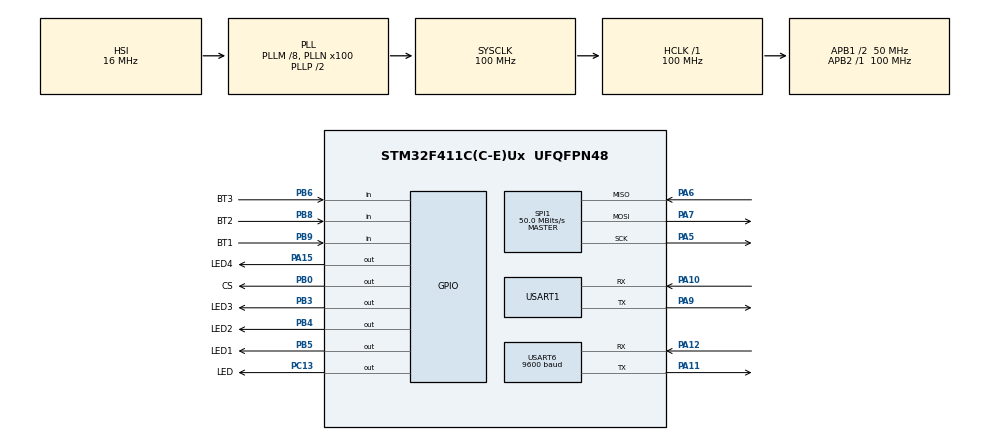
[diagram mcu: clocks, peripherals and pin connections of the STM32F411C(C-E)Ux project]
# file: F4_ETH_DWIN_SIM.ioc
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Dma.Request0=USART6_TX
Dma.Request1=USART1_TX
Dma.Request2=USART1_RX
Dma.USART1_RX.2.Direction=DMA_PERIPH_TO_MEMORY
Dma.USART1_RX.2.FIFOMode=DMA_FIFOMODE_DISABLE
Dma.USART1_RX.2.Instance=DMA2_Stream2
Dma.USART1_RX.2.MemDataAlignment=DMA_MDATAALIGN_BYTE
Dma.USART1_RX.2.MemInc=DMA_MINC_ENABLE
Dma.USART1_RX.2.Mode=DMA_NORMAL
Dma.USART1_RX.2.PeriphDataAlignment=DMA_PDATAALIGN_BYTE
Dma.USART1_RX.2.PeriphInc=DMA_PINC_DISABLE
Dma.USART1_RX.2.Priority=DMA_PRIORITY_LOW
Dma.USART1_TX.1.Direction=DMA_MEMORY_TO_PERIPH
Dma.USART1_TX.1.FIFOMode=DMA_FIFOMODE_DISABLE
Dma.USART1_TX.1.Instance=DMA2_Stream7
Dma.USART1_TX.1.MemDataAlignment=DMA_MDATAALIGN_BYTE
Dma.USART1_TX.1.MemInc=DMA_MINC_ENABLE
Dma.USART1_TX.1.Mode=DMA_NORMAL
Dma.USART1_TX.1.PeriphDataAlignment=DMA_PDATAALIGN_BYTE
Dma.USART1_TX.1.PeriphInc=DMA_PINC_DISABLE
Dma.USART1_TX.1.Priority=DMA_PRIORITY_LOW
Dma.USART6_TX.0.Direction=DMA_MEMORY_TO_PERIPH
Dma.USART6_TX.0.FIFOMode=DMA_FIFOMODE_DISABLE
Dma.USART6_TX.0.Instance=DMA2_Stream6
Dma.USART6_TX.0.MemDataAlignment=DMA_MDATAALIGN_BYTE
Dma.USART6_TX.0.MemInc=DMA_MINC_ENABLE
Dma.USART6_TX.0.Mode=DMA_NORMAL
Dma.USART6_TX.0.PeriphDataAlignment=DMA_PDATAALIGN_BYTE
Dma.USART6_TX.0.PeriphInc=DMA_PINC_DISABLE
Dma.USART6_TX.0.Priority=DMA_PRIORITY_LOW
Mcu.Family=STM32F4
Mcu.Name=STM32F411C(C-E)Ux
Mcu.Package=UFQFPN48
NVIC.DMA2_Stream2_IRQn=true\:0\:0\:false\:false\:true\:false\:true\:true
NVIC.DMA2_Stream6_IRQn=true\:0\:0\:false\:false\:true\:false\:true\:true
NVIC.DMA2_Stream7_IRQn=true\:0\:0\:false\:false\:true\:false\:true\:true
NVIC.PriorityGroup=NVIC_PRIORITYGROUP_4
NVIC.USART1_IRQn=true\:0\:0\:false\:false\:true\:true\:true\:true
NVIC.USART6_IRQn=true\:0\:0\:false\:false\:true\:true\:true\:true
PA10.Mode=Asynchronous
PA10.Signal=USART1_RX
PA11.Mode=Asynchronous
PA11.Signal=USART6_TX
PA12.Mode=Asynchronous
PA12.Signal=USART6_RX
PA15.GPIO_Label=LED4
PA15.Signal=GPIO_Output
PA5.Mode=Full_Duplex_Master
PA5.Signal=SPI1_SCK
PA6.Mode=Full_Duplex_Master
PA6.Signal=SPI1_MISO
PA7.Mode=Full_Duplex_Master
PA7.Signal=SPI1_MOSI
PA9.Mode=Asynchronous
PA9.Signal=USART1_TX
PB0.GPIO_Label=CS
PB0.Signal=GPIO_Output
PB3.GPIO_Label=LED3
PB3.Signal=GPIO_Output
PB4.GPIO_Label=LED2
PB4.Signal=GPIO_Output
PB5.GPIO_Label=LED1
PB5.Signal=GPIO_Output
PB6.GPIO_Label=BT3
PB6.Signal=GPIO_Input
PB8.GPIO_Label=BT2
PB8.Signal=GPIO_Input
PB9.GPIO_Label=BT1
PB9.Signal=GPIO_Input
PC13-ANTI_TAMP.GPIO_Label=LED
PC13-ANTI_TAMP.Signal=GPIO_Output
PH0\ -\ OSC_IN.Mode=HSE-External-Oscillator
PH0\ -\ OSC_IN.Signal=RCC_OSC_IN
PH1\ -\ OSC_OUT.Mode=HSE-External-Oscillator
PH1\ -\ OSC_OUT.Signal=RCC_OSC_OUT
ProjectManager.HeapSize=0x200
ProjectManager.StackSize=0x400
ProjectManager.TargetToolchain=MDK-ARM V5
RCC.48MHZClocksFreq_Value=50000000
RCC.AHBFreq_Value=100000000
RCC.APB1CLKDivider=RCC_HCLK_DIV2
RCC.APB1Freq_Value=50000000
RCC.APB1TimFreq_Value=100000000
RCC.APB2Freq_Value=100000000
RCC.APB2TimFreq_Value=100000000
RCC.CortexFreq_Value=100000000
RCC.HCLKFreq_Value=100000000
RCC.HSE_VALUE=25000000
RCC.HSI_VALUE=16000000
RCC.LSE_VALUE=32768
RCC.PLLM=8
RCC.PLLN=100
RCC.SYSCLKFreq_VALUE=100000000
RCC.SYSCLKSource=RCC_SYSCLKSOURCE_PLLCLK
RCC.VCOOutputFreq_Value=200000000
SPI1.BaudRatePrescaler=SPI_BAUDRATEPRESCALER_2
SPI1.CalculateBaudRate=50.0 MBits/s
SPI1.Direction=SPI_DIRECTION_2LINES
SPI1.Mode=SPI_MODE_MASTER
SPI1.VirtualType=VM_MASTER
USART1.VirtualMode=VM_ASYNC
USART6.BaudRate=9600
USART6.VirtualMode=VM_ASYNC
board=custom

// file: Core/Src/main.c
/* USER CODE BEGIN Header */
/**
  ******************************************************************************
  * @file           : main.c
  * @brief          : Main program body
  ******************************************************************************
  * @attention
  *
  * Copyright (c) 2024 STMicroelectronics.
  * All rights reserved.
  *
  * This software is licensed under terms that can be found in the LICENSE file
  * in the root directory of this software component.
  * If no LICENSE file comes with this software, it is provided AS-IS.
  *
  ******************************************************************************
  */
/* USER CODE END Header */
#include "main.h"
#include "dma.h"
#include "spi.h"
#include "usart.h"
#include "gpio.h"

/* USER CODE BEGIN Includes */
#include "button.h"
#include "enc28j60.h"
#include "uart.h"
#include "lwip_user.h"
#include "mqtt.h"
#include "mqtt_client.h"
#include "dns.h"
#include "A7860C_command.h"
/* USER CODE END Includes */

/* USER CODE BEGIN PV */
Button_t btRst;
/* USER CODE END PV */

void SystemClock_Config(void);

/* USER CODE BEGIN 0 */
void HAL_UART_RxCpltCallback(UART_HandleTypeDef *huart)
{
		if(huart->Instance == huart1.Instance)
		{
				uartReceive();
		}
}

char ETH_CONNECT_OK = 0;
static void dns_initialize(void)
{
    ip_addr_t dns_server_0 = IPADDR4_INIT_BYTES(8, 8, 8, 8);
    ip_addr_t dns_server_1 = IPADDR4_INIT_BYTES(1, 1, 1, 1);
    dns_setserver(0, &dns_server_0);
    dns_setserver(1, &dns_server_1);
    dns_init();
}
uint32_t time;

void Mqtt_on_message(char *topic, char *payload)
{
		if(strstr(topic,"STM32_SUB_DATA") != NULL)
		{
				HAL_GPIO_TogglePin(LED1_GPIO_Port, LED1_Pin);
				if(strstr(payload,"hello12") != NULL)
				{
						HAL_GPIO_TogglePin(LED2_GPIO_Port, LED2_Pin);
				}
		}

}
void bt_press_callback(Button_t *button)
{
		if(button == &btRst)
		{
				NVIC_SystemReset();
		}
}
/* USER CODE END 0 */

int main(void)
{

  /* MCU Configuration--------------------------------------------------------*/

  /* Reset of all peripherals, Initializes the Flash interface and the Systick. */
  HAL_Init();

  /* Configure the system clock */
  SystemClock_Config();

  /* Initialize all configured peripherals */
  MX_GPIO_Init();
  MX_DMA_Init();
  MX_SPI1_Init();
  MX_USART6_UART_Init();
  MX_USART1_UART_Init();
  /* USER CODE BEGIN 2 */

	HAL_GPIO_TogglePin(LED1_GPIO_Port, LED1_Pin);
	HAL_GPIO_TogglePin(LED2_GPIO_Port, LED2_Pin);
	HAL_GPIO_TogglePin(LED3_GPIO_Port, LED3_Pin);
	HAL_GPIO_TogglePin(LED4_GPIO_Port, LED4_Pin);

	Button_Init(&btRst, BT1_GPIO_Port, BT1_Pin);

	UART_init(&huart6);

	while (ENC29J600_init(&hspi1) == false) {
		HAL_GPIO_TogglePin(LED4_GPIO_Port, LED4_Pin);
		HAL_Delay(50);
	}

	lwip_config_init();

	dns_initialize();
	mqtt_client_cfg_t mqtt_cfg =
	{
			.periodic_sub_req_s = 1,            // period second subcriseZ
			.broker_addr = "broker.hivemq.com",
			.port = 1883,
			.password = NULL,
			.client_id = "465d777f41f140b69fcdd258c1d38671",
	};
	mqtt_client_initialize(&mqtt_cfg);

	/*
	SIM_init(&huart1);
	MQTT_Infor_t inforMQTT =
	{
		.clientID = "e2943989528d43d1",
		.clientIndex = 0,
		.sever = "test.mosquitto.org",
		.port = 1883,
		.keepAlive = 60,
		.cleanSession = 0
	};
	mountMQTT(inforMQTT);

	MQTT_Sub_t mqttUnSub =
	{
			.clientIndex = 0,
			.topic = "STM32_SUB_DATA",
			.Qos = 0
	};
	unSubcribeTopic(mqttUnSub);

	MQTT_Sub_t mqttSub =
	{
			.clientIndex = 0,
			.topic = "STM32_SUB_DATA",
			.Qos = 0
	};
	subcribeTopic(mqttSub);

	MQTTsetCallbackMess(Mqtt_on_message);
	*/
  /* USER CODE END 2 */

  /* Infinite loop */
  /* USER CODE BEGIN WHILE */
  while (1)
  {
	  /*
		bt_handle(&btRst);
		SimLoop();
		if(HAL_GetTick() - time > 100)
		{
			HAL_GPIO_TogglePin(LED4_GPIO_Port, LED4_Pin);
			HAL_GPIO_TogglePin(LED_GPIO_Port, LED_Pin);
			time = HAL_GetTick();
		}
		*/

		lwip_periodic_handle();				// HANDLE CONNECT ETH
		if(ETH_IPOK())
		{
				//ETH_CONNECT_OK = 1;
				mqtt_client_polling_task(NULL);

		}

    /* USER CODE END WHILE */

  }
}

void SystemClock_Config(void)
{
  RCC_OscInitTypeDef RCC_OscInitStruct = {0};
  RCC_ClkInitTypeDef RCC_ClkInitStruct = {0};

  /** Configure the main internal regulator output voltage
  */
  __HAL_RCC_PWR_CLK_ENABLE();
  __HAL_PWR_VOLTAGESCALING_CONFIG(PWR_REGULATOR_VOLTAGE_SCALE1);

  /** Initializes the RCC Oscillators according to the specified parameters
  * in the RCC_OscInitTypeDef structure.
  */
  RCC_OscInitStruct.OscillatorType = RCC_OSCILLATORTYPE_HSI;
  RCC_OscInitStruct.HSIState = RCC_HSI_ON;
  RCC_OscInitStruct.HSICalibrationValue = RCC_HSICALIBRATION_DEFAULT;
  RCC_OscInitStruct.PLL.PLLState = RCC_PLL_ON;
  RCC_OscInitStruct.PLL.PLLSource = RCC_PLLSOURCE_HSI;
  RCC_OscInitStruct.PLL.PLLM = 8;
  RCC_OscInitStruct.PLL.PLLN = 100;
  RCC_OscInitStruct.PLL.PLLP = RCC_PLLP_DIV2;
  RCC_OscInitStruct.PLL.PLLQ = 4;
  if (HAL_RCC_OscConfig(&RCC_OscInitStruct) != HAL_OK)
  {
    Error_Handler();
  }

  /** Initializes the CPU, AHB and APB buses clocks
  */
  RCC_ClkInitStruct.ClockType = RCC_CLOCKTYPE_HCLK|RCC_CLOCKTYPE_SYSCLK
                              |RCC_CLOCKTYPE_PCLK1|RCC_CLOCKTYPE_PCLK2;
  RCC_ClkInitStruct.SYSCLKSource = RCC_SYSCLKSOURCE_PLLCLK;
  RCC_ClkInitStruct.AHBCLKDivider = RCC_SYSCLK_DIV1;
  RCC_ClkInitStruct.APB1CLKDivider = RCC_HCLK_DIV2;
  RCC_ClkInitStruct.APB2CLKDivider = RCC_HCLK_DIV1;

  if (HAL_RCC_ClockConfig(&RCC_ClkInitStruct, FLASH_LATENCY_3) != HAL_OK)
  {
    Error_Handler();
  }
}

void Error_Handler(void)
{
  __disable_irq();
  while (1)
  {
  }
}
